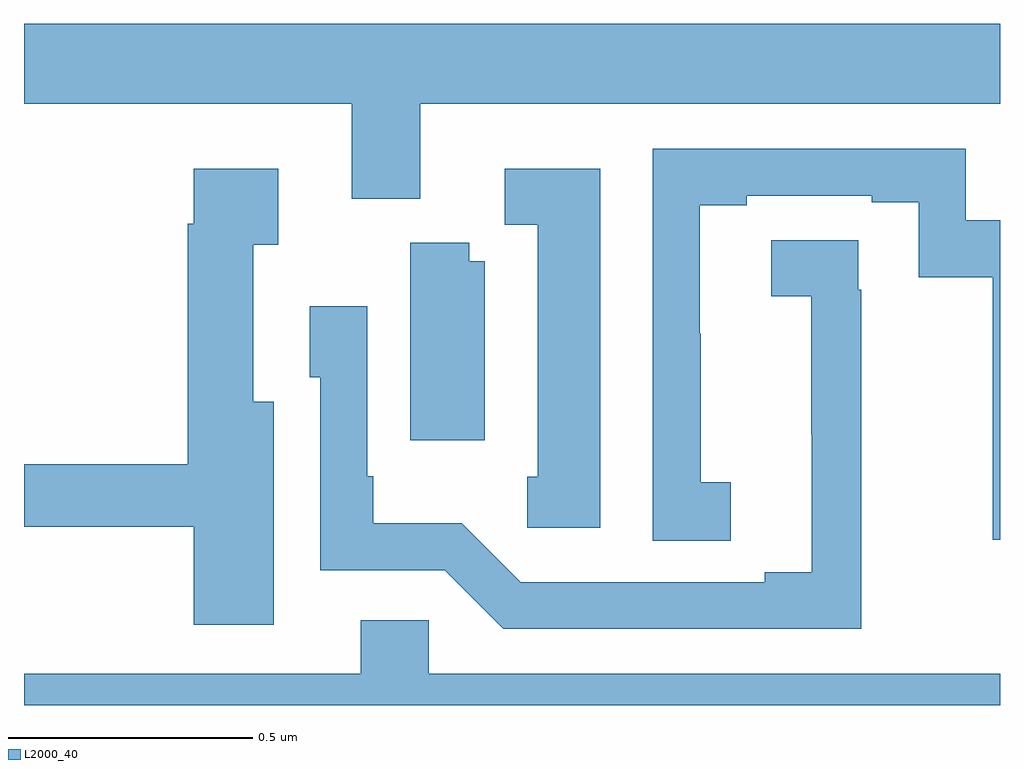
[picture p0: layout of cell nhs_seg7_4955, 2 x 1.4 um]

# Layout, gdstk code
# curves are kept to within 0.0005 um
import gdstk
lib = gdstk.Library(unit=1e-6, precision=1e-09)
def P(c, l, *ps):  # polygons
    for p in ps: c.add(gdstk.Polygon(p, *l))
L2000_40 = (2000, 40)

nhs_seg7_4955 = lib.new_cell('nhs_seg7_4955')
P(nhs_seg7_4955, L2000_40, [(179.812,1051.232),(181,1051.232),(181,1051.396),(179,1051.396),(179,1051.232),(179.672,1051.232),(179.672,1051.038),(179.812,1051.038)],
  [(180.448,1050.457),(180.387,1050.457),(180.387,1050.761),(180.385,1050.761),(180.385,1051.024),(180.481,1051.024),(180.481,1051.044),(180.737,1051.044),(180.737,1051.03),(180.834,1051.03),(180.834,1050.877),(180.985,1050.877),(180.985,1050.339),(181,1050.339),(181,1050.994),(180.93,1050.994),(180.93,1051.14),(180.288,1051.14),(180.288,1050.337),(180.448,1050.337)],
  [(179.512,1050.622),(179.47,1050.622),(179.47,1050.943),(179.521,1050.943),(179.521,1051.099),(179.348,1051.099),(179.348,1050.986),(179.336,1050.986),(179.336,1050.494),(179,1050.494),(179,1050.366),(179.348,1050.366),(179.348,1050.165),(179.512,1050.165)],
  [(180.181,1051.099),(179.985,1051.099),(179.985,1050.984),(180.053,1050.984),(180.053,1050.468),(180.031,1050.468),(180.031,1050.363),(180.181,1050.363)],
  [(180.716,1050.851),(180.71,1050.851),(180.71,1050.953),(180.531,1050.953),(180.531,1050.838),(180.613,1050.838),(180.614,1050.272),(180.518,1050.272),(180.518,1050.252),(180.018,1050.252),(179.897,1050.373),(179.716,1050.373),(179.716,1050.469),(179.703,1050.469),(179.703,1050.817),(179.586,1050.817),(179.586,1050.672),(179.607,1050.672),(179.607,1050.276),(179.862,1050.276),(179.982,1050.156),(180.716,1050.156)],
  [(179.944,1050.91),(179.912,1050.91),(179.912,1050.947),(179.792,1050.947),(179.792,1050.543),(179.944,1050.543)],
  [(181,1050.064),(179.829,1050.064),(179.829,1050.174),(179.69,1050.174),(179.69,1050.064),(179,1050.064),(179,1050),(181,1050)])

lib.write_gds('nhs_seg7_4955.gds')
